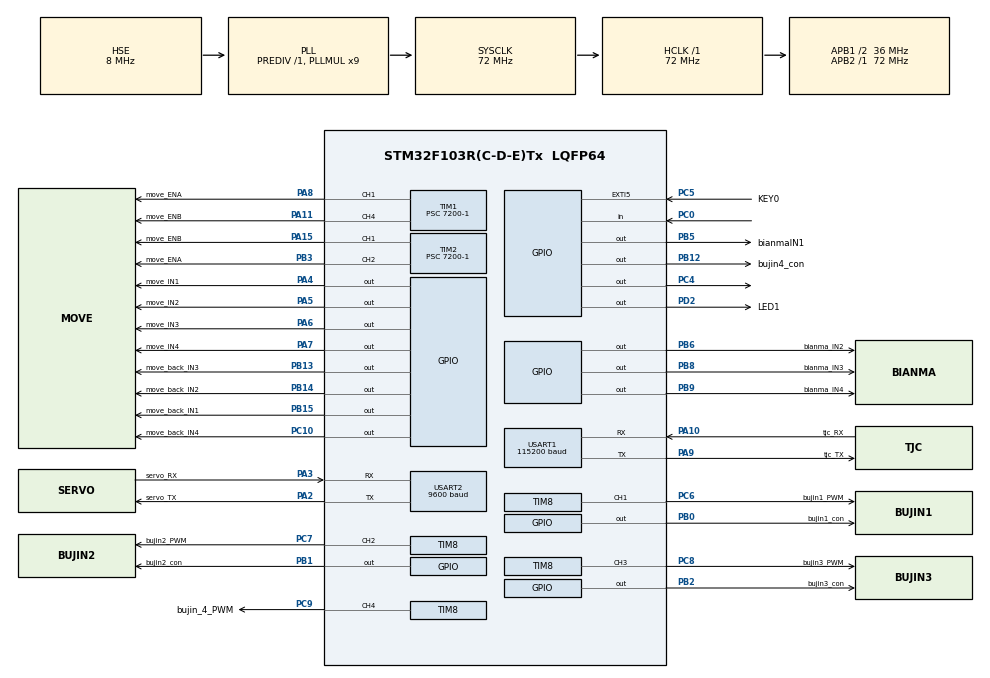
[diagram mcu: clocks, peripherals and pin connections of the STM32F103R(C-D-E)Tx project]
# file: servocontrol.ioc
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Mcu.Family=STM32F1
Mcu.Name=STM32F103R(C-D-E)Tx
Mcu.Package=LQFP64
NVIC.EXTI9_5_IRQn=true\:0\:0\:true\:false\:true\:true\:true\:true
NVIC.PriorityGroup=NVIC_PRIORITYGROUP_4
NVIC.TIM1_BRK_IRQn=true\:0\:0\:false\:false\:true\:true\:true\:true
NVIC.TIM2_IRQn=true\:0\:0\:false\:false\:true\:true\:true\:true
NVIC.TIM8_BRK_IRQn=true\:0\:0\:false\:false\:true\:true\:true\:true
NVIC.TIM8_CC_IRQn=true\:0\:0\:true\:false\:true\:true\:true\:true
NVIC.TIM8_TRG_COM_IRQn=true\:0\:0\:true\:false\:true\:true\:true\:true
NVIC.TIM8_UP_IRQn=true\:0\:0\:false\:false\:true\:true\:true\:true
NVIC.USART1_IRQn=true\:0\:0\:false\:false\:true\:true\:true\:true
NVIC.USART2_IRQn=true\:0\:0\:false\:false\:true\:true\:true\:true
PA0-WKUP.Mode=SYS_WakeUp0
PA0-WKUP.Signal=SYS_WKUP
PA10.GPIO_Label=tjc_RX
PA10.Mode=Asynchronous
PA10.Signal=USART1_RX
PA11.GPIO_Label=move_ENB
PA11.Signal=S_TIM1_CH4
PA13.Mode=Serial_Wire
PA13.Signal=SYS_JTMS-SWDIO
PA14.Mode=Serial_Wire
PA14.Signal=SYS_JTCK-SWCLK
PA15.GPIO_Label=move_ENB
PA15.Signal=S_TIM2_CH1_ETR
PA2.GPIO_Label=servo_TX
PA2.Mode=Asynchronous
PA2.Signal=USART2_TX
PA3.GPIO_Label=servo_RX
PA3.Mode=Asynchronous
PA3.Signal=USART2_RX
PA4.GPIO_Label=move_IN1
PA4.Signal=GPIO_Output
PA5.GPIO_Label=move_IN2
PA5.Signal=GPIO_Output
PA6.GPIO_Label=move_IN3
PA6.Signal=GPIO_Output
PA7.GPIO_Label=move_IN4
PA7.Signal=GPIO_Output
PA8.GPIO_Label=move_ENA
PA8.Signal=S_TIM1_CH1
PA9.GPIO_Label=tjc_TX
PA9.Mode=Asynchronous
PA9.Signal=USART1_TX
PB0.GPIO_Label=bujin1_con
PB0.Signal=GPIO_Output
PB1.GPIO_Label=bujin2_con
PB1.Signal=GPIO_Output
PB12.GPIO_Label=bujin4_con
PB12.Signal=GPIO_Output
PB13.GPIO_Label=move_back_IN3
PB13.Signal=GPIO_Output
PB14.GPIO_Label=move_back_IN2
PB14.Signal=GPIO_Output
PB15.GPIO_Label=move_back_IN1
PB15.Signal=GPIO_Output
PB2.GPIO_Label=bujin3_con
PB2.Signal=GPIO_Output
PB3.GPIO_Label=move_ENA
PB3.Signal=S_TIM2_CH2
PB5.GPIO_Label=bianmaIN1
PB5.Signal=GPIO_Output
PB6.GPIO_Label=bianma_IN2
PB6.Signal=GPIO_Output
PB8.GPIO_Label=bianma_IN3
PB8.Signal=GPIO_Output
PB9.GPIO_Label=bianma_IN4
PB9.Signal=GPIO_Output
PC0.Signal=GPIO_Input
PC10.GPIO_Label=move_back_IN4
PC10.Signal=GPIO_Output
PC4.Signal=GPIO_Output
PC5.GPIO_Label=KEY0
PC5.GPIO_ModeDefaultEXTI=GPIO_MODE_IT_FALLING
PC5.GPIO_PuPd=GPIO_PULLUP
PC5.Signal=GPXTI5
PC6.GPIO_Label=bujin1_PWM
PC6.Signal=S_TIM8_CH1
PC7.GPIO_Label=bujin2_PWM
PC7.Signal=S_TIM8_CH2
PC8.GPIO_Label=bujin3_PWM
PC8.Signal=S_TIM8_CH3
PC9.GPIO_Label=bujin_4_PWM
PC9.Signal=S_TIM8_CH4
PD0-OSC_IN.Mode=HSE-External-Oscillator
PD0-OSC_IN.Signal=RCC_OSC_IN
PD1-OSC_OUT.Mode=HSE-External-Oscillator
PD1-OSC_OUT.Signal=RCC_OSC_OUT
PD2.GPIO_Label=LED1
PD2.Signal=GPIO_Output
ProjectManager.HeapSize=0x200
ProjectManager.StackSize=0x400
ProjectManager.TargetToolchain=MDK-ARM V5.32
RCC.AHBFreq_Value=72000000
RCC.APB1CLKDivider=RCC_HCLK_DIV2
RCC.APB1Freq_Value=36000000
RCC.APB1TimFreq_Value=72000000
RCC.APB2Freq_Value=72000000
RCC.APB2TimFreq_Value=72000000
RCC.HCLKFreq_Value=72000000
RCC.PLLMUL=RCC_PLL_MUL9
RCC.PLLSourceVirtual=RCC_PLLSOURCE_HSE
RCC.SYSCLKFreq_VALUE=72000000
RCC.SYSCLKSource=RCC_SYSCLKSOURCE_PLLCLK
RCC.USBFreq_Value=72000000
SH.S_TIM1_CH1.0=TIM1_CH1,PWM Generation1 CH1
SH.S_TIM1_CH4.0=TIM1_CH4,PWM Generation4 CH4
SH.S_TIM2_CH1_ETR.0=TIM2_CH1,PWM Generation1 CH1
SH.S_TIM2_CH2.0=TIM2_CH2,PWM Generation2 CH2
SH.S_TIM8_CH1.0=TIM8_CH1,PWM Generation1 CH1
SH.S_TIM8_CH2.0=TIM8_CH2,PWM Generation2 CH2
SH.S_TIM8_CH3.0=TIM8_CH3,PWM Generation3 CH3
SH.S_TIM8_CH4.0=TIM8_CH4,PWM Generation4 CH4
TIM1.AutoReloadPreload=TIM_AUTORELOAD_PRELOAD_DISABLE
TIM1.Channel-PWM\ Generation1\ CH1=TIM_CHANNEL_1
TIM1.Channel-PWM\ Generation4\ CH4=TIM_CHANNEL_4
TIM1.Period=100-1
TIM1.Prescaler=7200-1
TIM2.Channel-PWM\ Generation1\ CH1=TIM_CHANNEL_1
TIM2.Channel-PWM\ Generation2\ CH2=TIM_CHANNEL_2
TIM2.Period=100-1
TIM2.Prescaler=7200-1
TIM8.AutoReloadPreload=TIM_AUTORELOAD_PRELOAD_ENABLE
TIM8.Channel-PWM\ Generation1\ CH1=TIM_CHANNEL_1
TIM8.Channel-PWM\ Generation2\ CH2=TIM_CHANNEL_2
TIM8.Channel-PWM\ Generation3\ CH3=TIM_CHANNEL_3
TIM8.Channel-PWM\ Generation4\ CH4=TIM_CHANNEL_4
TIM8.Period=10-1
TIM8.Prescaler=720-1
USART1.BaudRate=115200
USART1.VirtualMode=VM_ASYNC
USART2.BaudRate=9600
USART2.VirtualMode=VM_ASYNC
VP_TIM1_VS_ClockSourceINT.Mode=Internal
VP_TIM2_VS_ClockSourceINT.Mode=Internal
VP_TIM8_VS_ClockSourceINT.Mode=Internal
board=custom

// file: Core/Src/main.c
/* USER CODE BEGIN Header */
/**
  ******************************************************************************
  * @file           : main.c
  * @brief          : Main program body
  ******************************************************************************
  * @attention
  *
  * Copyright (c) 2024 STMicroelectronics.
  * All rights reserved.
  *
  * This software is licensed under terms that can be found in the LICENSE file
  * in the root directory of this software component.
  * If no LICENSE file comes with this software, it is provided AS-IS.
  *
  ******************************************************************************
  */
/* USER CODE END Header */
#include "main.h"
#include "tim.h"
#include "usart.h"
#include "gpio.h"

/* USER CODE BEGIN Includes */
#include <yinyong.h>
/* USER CODE END Includes */

/* USER CODE BEGIN PV */

extern int direction1;
extern int direction2;
extern int direction3;
extern int direction4;
extern int quanshu1;
extern int quanshu2;
extern int quanshu3;
extern int quanshu4;

/* USER CODE END PV */

void SystemClock_Config(void);

int main(void)
{

  /* MCU Configuration--------------------------------------------------------*/

  /* Reset of all peripherals, Initializes the Flash interface and the Systick. */
  HAL_Init();

  /* Configure the system clock */
  SystemClock_Config();

  /* Initialize all configured peripherals */
  MX_GPIO_Init();
  MX_USART2_UART_Init();
  MX_USART1_UART_Init();
  MX_TIM8_Init();
  MX_TIM2_Init();
  MX_TIM1_Init();
  /* USER CODE BEGIN 2 */
	HAL_TIM_Base_Start_IT(&htim8);//???????
	HAL_TIM_Base_Start_IT(&htim2);
	HAL_TIM_Base_Start_IT(&htim1);
	HAL_TIM_PWM_Start(&htim1,TIM_CHANNEL_1);
	HAL_TIM_PWM_Start(&htim1,TIM_CHANNEL_4);
	HAL_TIM_PWM_Start(&htim2,TIM_CHANNEL_1);
	HAL_TIM_PWM_Start(&htim2,TIM_CHANNEL_2);
	HAL_TIM_PWM_Start(&htim2,TIM_CHANNEL_3);
	HAL_TIM_PWM_Start(&htim2,TIM_CHANNEL_4);
	motor_init();
	initRingBuff();//begin buffer
	HAL_UART_Receive_IT(&huart1,RxBuff,1);//open serial port and begin receiving  uint8_t res
	dianji_init();//open bujin channels

	//4000ms in a round
	//2000ms from vertical to insertion
	//1300ms from insertion to rise
	moveServo(4,100,1000);

  TJCPrintf("page0.t1.txt=\"abc\"\xff\xff\xff");//static text test,function JTCPrintf can export value to the screen

  /* USER CODE END 2 */

  /* Infinite loop */
  /* USER CODE BEGIN WHILE */
  while(1)
  {

		//1600-90 angle->compare 8%
		if(usarflag==1){
			judge();
		}

		usarflag=0;

   HAL_GPIO_TogglePin(LED1_GPIO_Port,LED1_Pin);
		HAL_Delay(100);

    /* USER CODE END WHILE */

  }
}

void SystemClock_Config(void)
{
  RCC_OscInitTypeDef RCC_OscInitStruct = {0};
  RCC_ClkInitTypeDef RCC_ClkInitStruct = {0};

  /** Initializes the RCC Oscillators according to the specified parameters
  * in the RCC_OscInitTypeDef structure.
  */
  RCC_OscInitStruct.OscillatorType = RCC_OSCILLATORTYPE_HSE;
  RCC_OscInitStruct.HSEState = RCC_HSE_ON;
  RCC_OscInitStruct.HSEPredivValue = RCC_HSE_PREDIV_DIV1;
  RCC_OscInitStruct.HSIState = RCC_HSI_ON;
  RCC_OscInitStruct.PLL.PLLState = RCC_PLL_ON;
  RCC_OscInitStruct.PLL.PLLSource = RCC_PLLSOURCE_HSE;
  RCC_OscInitStruct.PLL.PLLMUL = RCC_PLL_MUL9;
  if (HAL_RCC_OscConfig(&RCC_OscInitStruct) != HAL_OK)
  {
    Error_Handler();
  }

  /** Initializes the CPU, AHB and APB buses clocks
  */
  RCC_ClkInitStruct.ClockType = RCC_CLOCKTYPE_HCLK|RCC_CLOCKTYPE_SYSCLK
                              |RCC_CLOCKTYPE_PCLK1|RCC_CLOCKTYPE_PCLK2;
  RCC_ClkInitStruct.SYSCLKSource = RCC_SYSCLKSOURCE_PLLCLK;
  RCC_ClkInitStruct.AHBCLKDivider = RCC_SYSCLK_DIV1;
  RCC_ClkInitStruct.APB1CLKDivider = RCC_HCLK_DIV2;
  RCC_ClkInitStruct.APB2CLKDivider = RCC_HCLK_DIV1;

  if (HAL_RCC_ClockConfig(&RCC_ClkInitStruct, FLASH_LATENCY_2) != HAL_OK)
  {
    Error_Handler();
  }
}

void Error_Handler(void)
{
  __disable_irq();
  while (1)
  {
  }
}
